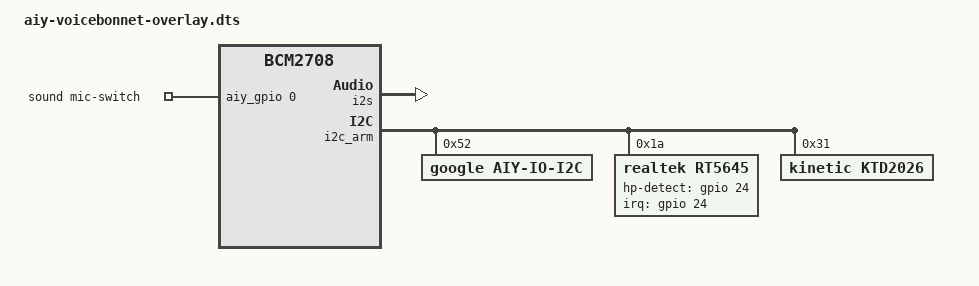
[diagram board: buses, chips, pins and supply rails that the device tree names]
// Definitions for Google voiceHAT v1 soundcard overlay
/dts-v1/;
/plugin/;

/ {
	compatible = "brcm,bcm2708";

	fragment@0 {
		target = <&i2s>;
		__overlay__ {
			status = "okay";
		};
	};

	fragment@1 {
		target = <&i2c_arm>;
		__overlay__ {
			#address-cells = <1>;
			#size-cells = <0>;
			status = "okay";

			aiy-io-i2c@52 {
				compatible = "google,aiy-io-i2c";
				reg = <0x52>;
				type = "voice";
				status = "okay";

				aiy_gpio: aiy-gpio {
					compatible = "google,gpio-aiy-io";
					gpio-controller;
					#gpio-cells = <2>;
				};
			};

			rt5645: rt5645@1a {
				compatible = "realtek,rt5645";
				reg = <0x1a>;
				realtek,dmic1-data-pin = <0>;
				realtek,dmic2-data-pin = <0>;
				realtek,jd-mode = <0>;
				realtek,jd-invert;
				interrupt-parent = <&gpio>;
				interrupts = <24 3>;
				hp-detect-gpios = <&gpio 24 0>;
			};

			ktd2026@31 {
				compatible = "kinetic,ktd2026";
				reg = <0x31>;
				status = "okay";
			};

		};
	};

	fragment@2 {
		target = <&gpio>;
		__overlay__ {
			pinctrl-names = "default";
			pinctrl-0 = <&hp_detect_pins>;

			hp_detect_pins: hp_detect_pins {
				brcm,pins = <24>;
				brcm,function = <0>; /* GPIO in */
				brcm,pull = <0>; /* disable pull-down/up */
			};
		};
	};

	fragment@3 {
		target = <&sound>;
		__overlay__ {
			compatible = "google,aiy-voicebonnet";
			i2s-controller = <&i2s>;
			aiy-voicebonnet,audio-codec = <&rt5645>;
			google,model = "aiy-voicebonnet";
			mic-switch-gpios = <&aiy_gpio 0 0>;
			status = "okay";
		};
	};
};
